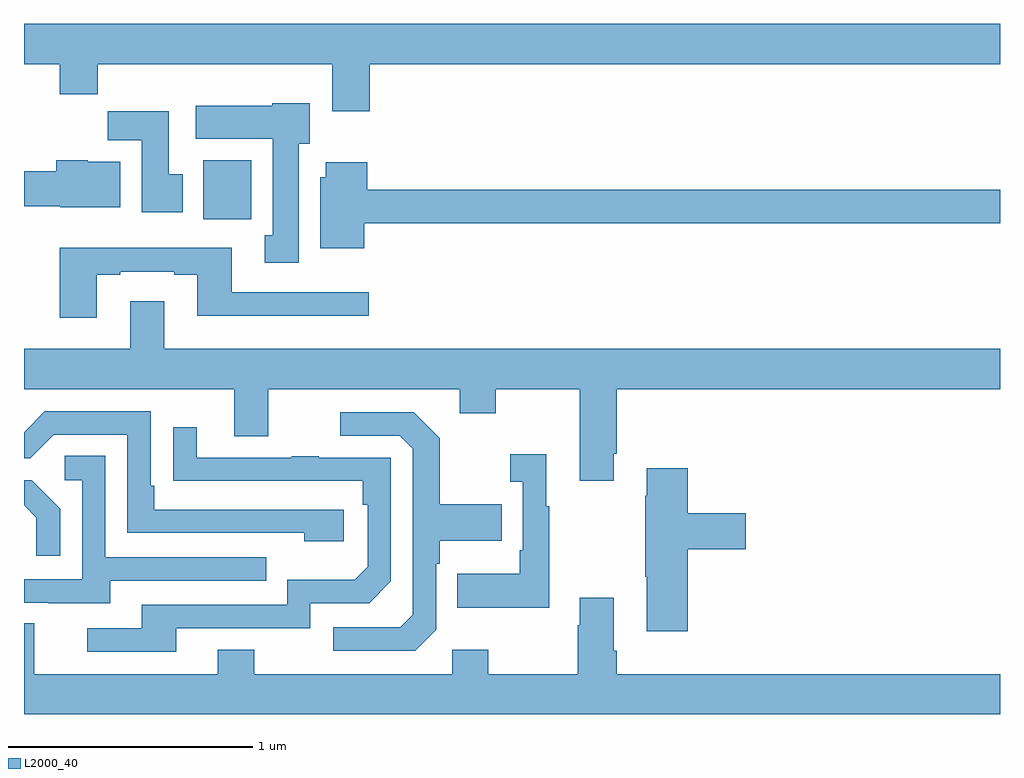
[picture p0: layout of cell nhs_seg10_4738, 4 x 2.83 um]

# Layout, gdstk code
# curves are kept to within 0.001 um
import gdstk
lib = gdstk.Library(unit=1e-6, precision=1e-09)
def R(c, l, rs):  # rectangles x0, y0, x1, y1
    for r in rs: c.add(gdstk.rectangle(r[:2], r[2:], *l))
def P(c, l, *ps):  # polygons
    for p in ps: c.add(gdstk.Polygon(p, *l))
L2000_40 = (2000, 40)

nhs_seg10_4738 = lib.new_cell('nhs_seg10_4738')
R(nhs_seg10_4738, L2000_40, [(383.735,1277.036,383.932,1277.278)])
P(nhs_seg10_4738, L2000_40, [(384.416,1277.672),(387,1277.672),(387,1277.836),(383,1277.836),(383,1277.672),(383.147,1277.672),(383.147,1277.548),(383.303,1277.548),(383.303,1277.672),(384.263,1277.672),(384.263,1277.478),(384.416,1277.478)],
  [(384.127,1277.346),(384.172,1277.346),(384.172,1277.512),(384.018,1277.512),(384.018,1277.5),(383.703,1277.5),(383.703,1277.366),(384.02,1277.366),(384.02,1276.97),(383.987,1276.97),(383.987,1276.857),(384.127,1276.857)],
  [(383.65,1277.22),(383.593,1277.22),(383.593,1277.479),(383.344,1277.479),(383.344,1277.36),(383.483,1277.36),(383.483,1277.064),(383.65,1277.064)],
  [(383.395,1277.272),(383.262,1277.272),(383.262,1277.278),(383.132,1277.278),(383.132,1277.232),(383,1277.232),(383,1277.09),(383.148,1277.09),(383.148,1277.084),(383.395,1277.084)],
  [(384.394,1277.02),(387,1277.02),(387,1277.156),(384.407,1277.156),(384.407,1277.269),(384.236,1277.269),(384.236,1277.208),(384.215,1277.208),(384.215,1276.916),(384.394,1276.916)],
  [(383.299,1276.809),(383.395,1276.809),(383.395,1276.821),(383.615,1276.821),(383.615,1276.809),(383.711,1276.809),(383.711,1276.64),(384.412,1276.64),(384.412,1276.737),(383.851,1276.737),(383.851,1276.918),(383.147,1276.918),(383.147,1276.632),(383.299,1276.632)],
  [(385.417,1276.075),(385.43,1276.075),(385.43,1276.34),(387,1276.34),(387,1276.504),(383.575,1276.504),(383.575,1276.699),(383.435,1276.699),(383.435,1276.504),(383,1276.504),(383,1276.34),(383.861,1276.34),(383.861,1276.146),(384.001,1276.146),(384.001,1276.34),(384.785,1276.34),(384.785,1276.241),(384.933,1276.241),(384.933,1276.34),(385.277,1276.34),(385.277,1275.963),(385.417,1275.963)],
  [(384.31,1275.846),(383.533,1275.846),(383.533,1275.943),(383.52,1275.943),(383.52,1276.248),(383.085,1276.248),(383,1276.163),(383,1276.056),(383.025,1276.056),(383.121,1276.152),(383.424,1276.152),(383.424,1275.75),(384.149,1275.75),(384.149,1275.716),(384.31,1275.716)],
  [(384.69,1275.354),(384.69,1275.623),(384.703,1275.623),(384.703,1275.719),(384.959,1275.719),(384.959,1275.867),(384.703,1275.867),(384.703,1276.139),(384.597,1276.245),(384.297,1276.245),(384.297,1276.149),(384.54,1276.149),(384.594,1276.095),(384.594,1275.414),(384.543,1275.363),(384.267,1275.363),(384.267,1275.267),(384.603,1275.267)],
  [(383.623,1275.36),(384.174,1275.36),(384.174,1275.462),(384.414,1275.462),(384.504,1275.552),(384.504,1276.059),(384.209,1276.059),(384.209,1276.064),(384.097,1276.064),(384.097,1276.059),(383.707,1276.059),(383.707,1276.183),(383.611,1276.183),(383.611,1275.964),(384.388,1275.963),(384.388,1275.866),(384.408,1275.866),(384.408,1275.612),(384.355,1275.559),(384.078,1275.559),(384.078,1275.456),(383.483,1275.456),(383.483,1275.36),(383.259,1275.36),(383.259,1275.264),(383.623,1275.264)],
  [(385.153,1275.859),(385.141,1275.859),(385.141,1276.072),(384.993,1276.072),(384.993,1275.959),(385.044,1275.959),(385.044,1275.679),(385.032,1275.679),(385.032,1275.583),(384.775,1275.583),(384.775,1275.443),(385.153,1275.443)],
  [(383.353,1275.555),(383.993,1275.555),(383.993,1275.651),(383.334,1275.651),(383.334,1276.067),(383.166,1276.067),(383.166,1275.966),(383.238,1275.966),(383.238,1275.561),(383,1275.561),(383,1275.465),(383.099,1275.465),(383.099,1275.461),(383.353,1275.461)],
  [(385.721,1275.683),(385.957,1275.683),(385.957,1275.83),(385.721,1275.83),(385.721,1276.015),(385.553,1276.015),(385.553,1275.902),(385.546,1275.902),(385.546,1275.571),(385.553,1275.571),(385.553,1275.348),(385.721,1275.348)],
  [(383.148,1275.85),(383.032,1275.966),(383,1275.966),(383,1275.864),(383.051,1275.813),(383.051,1275.657),(383.148,1275.657)],
  [(387,1275.172),(385.43,1275.172),(385.43,1275.268),(385.417,1275.268),(385.417,1275.484),(385.277,1275.484),(385.277,1275.371),(385.27,1275.371),(385.27,1275.172),(384.903,1275.172),(384.903,1275.271),(384.756,1275.271),(384.756,1275.172),(383.943,1275.172),(383.943,1275.271),(383.795,1275.271),(383.795,1275.172),(383.041,1275.172),(383.041,1275.38),(383,1275.38),(383,1275.008),(387,1275.008)])

lib.write_gds('nhs_seg10_4738.gds')
